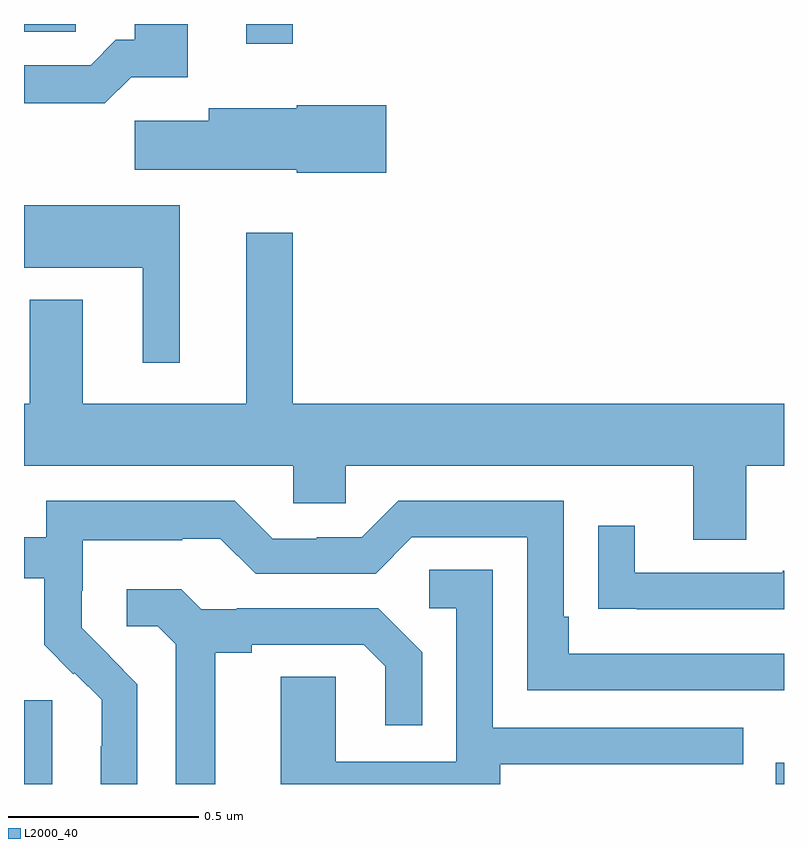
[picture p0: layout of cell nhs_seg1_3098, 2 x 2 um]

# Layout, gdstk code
import gdstk
lib = gdstk.Library(unit=1e-6, precision=1e-09)
def R(c, l, rs):  # rectangles x0, y0, x1, y1
    for r in rs: c.add(gdstk.rectangle(r[:2], r[2:], *l))
def P(c, l, *ps):  # polygons
    for p in ps: c.add(gdstk.Polygon(p, *l))
L2000_40 = (2000, 40)

nhs_seg1_3098 = lib.new_cell('nhs_seg1_3098')
R(nhs_seg1_3098, L2000_40, [(149,580.199,149.074,580.419), (150.978,580.199,151,580.255), (149.585,582.147,149.707,582.199), (149,582.178,149.136,582.199)])
P(nhs_seg1_3098, L2000_40, [(149.282,582.059),(149.431,582.059),(149.431,582.199),(149.291,582.199),(149.291,582.157),(149.242,582.157),(149.175,582.09),(149,582.09),(149,581.99),(149.213,581.99)],
  [(149.953,581.985),(149.718,581.985),(149.718,581.977),(149.486,581.977),(149.486,581.945),(149.292,581.945),(149.292,581.816),(149.718,581.816),(149.718,581.807),(149.953,581.807)],
  [(149.41,581.722),(149,581.722),(149,581.558),(149.312,581.558),(149.312,581.307),(149.41,581.307)],
  [(150.901,581.036),(151,581.036),(151,581.2),(149.707,581.2),(149.707,581.65),(149.585,581.65),(149.585,581.2),(149.155,581.2),(149.155,581.473),(149.015,581.473),(149.015,581.2),(149,581.2),(149,581.036),(149.709,581.036),(149.709,580.938),(149.847,580.938),(149.847,581.036),(150.761,581.036),(150.761,580.842),(150.901,580.842)],
  [(149.298,580.462),(149.225,580.535),(149.226,580.536),(149.152,580.61),(149.152,580.707),(149.154,580.707),(149.154,580.841),(149.417,580.841),(149.417,580.845),(149.517,580.845),(149.61,580.752),(149.925,580.752),(150.021,580.848),(150.324,580.848),(150.324,580.446),(151,580.446),(151,580.542),(150.433,580.542),(150.433,580.639),(150.42,580.639),(150.42,580.944),(149.985,580.944),(149.889,580.848),(149.771,580.848),(149.771,580.845),(149.655,580.845),(149.555,580.945),(149.058,580.945),(149.058,580.848),(149,580.848),(149,580.74),(149.053,580.74),(149.053,580.565),(149.13,580.488),(149.133,580.491),(149.204,580.421),(149.204,580.298),(149.202,580.298),(149.202,580.199),(149.298,580.199)],
  [(151,580.76),(150.997,580.76),(150.997,580.755),(150.607,580.755),(150.607,580.879),(150.511,580.879),(150.511,580.66),(150.613,580.66),(150.613,580.659),(151,580.659)],
  [(150.253,580.251),(150.893,580.251),(150.893,580.347),(150.234,580.347),(150.234,580.763),(150.066,580.763),(150.066,580.662),(150.138,580.662),(150.138,580.257),(149.82,580.257),(149.82,580.481),(149.675,580.481),(149.675,580.199),(150.253,580.199)],
  [(149.503,580.544),(149.599,580.544),(149.599,580.566),(149.894,580.566),(149.951,580.509),(149.951,580.353),(150.048,580.353),(150.048,580.546),(149.932,580.662),(149.56,580.662),(149.56,580.659),(149.466,580.659),(149.414,580.711),(149.271,580.711),(149.271,580.614),(149.352,580.614),(149.399,580.567),(149.399,580.199),(149.503,580.199)])

lib.write_gds('nhs_seg1_3098.gds')
